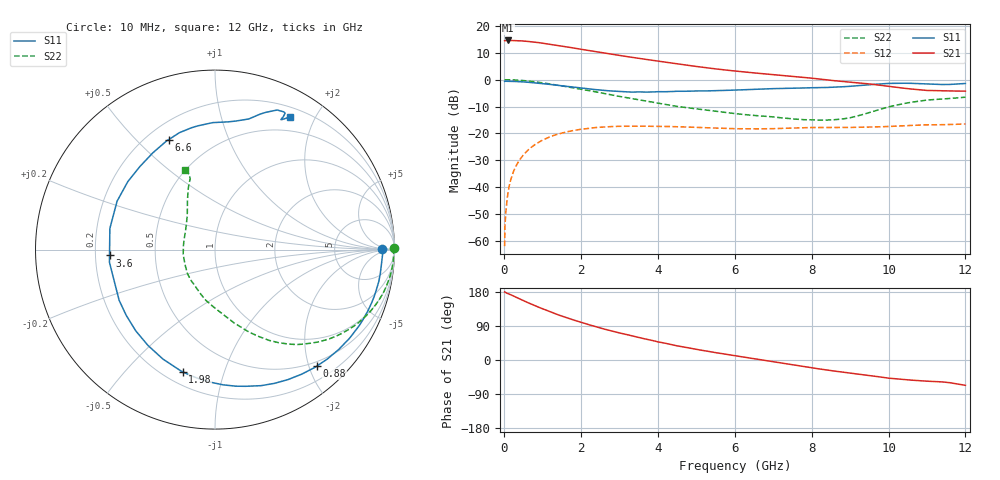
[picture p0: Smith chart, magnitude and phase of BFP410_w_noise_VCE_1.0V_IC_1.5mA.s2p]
! Infineon Technologies  Discrete & RF Semiconductors
! BFP410
! VCE =  1.0 V,  IC =  1.5 mA
! Common Emitter S-Parameters:  Nov 2015
# GHz  S  MA  R  50
!  f  S11  S21  S12  S22
! GHz  MAG  ANG  MAG  ANG  MAG  ANG  MAG  ANG
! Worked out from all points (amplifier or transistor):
!   243 points, 10 MHz to 12 GHz, reference 50 ohm
!   highest |S21| = 14.6 dB at 100 MHz (marker M1)
!   |S21| within 3 dB of that: start of sweep to 1.885 GHz
!   unconditionally stable (mu >= 1): 4.314 GHz to end of sweep
!   at 240 MHz: K = 0.04, MSG = 24.4 dB, |S12| = -34.2 dB
!   at 1.84 GHz: K = 0.35, MSG = 15.2 dB, |S12| = -18.8 dB
!   at 12 GHz: K = 1.20, MAG = 3.4 dB, |S12| = -16.5 dB
!   lowest NFmin = 0.80 dB at 900 MHz
!   S11 on the Smith chart (normalised r, x): 10 MHz: 27, +1; 880 MHz: 0.42, -2.14; 1.98 GHz: 0.27, -0.73; 3.6 GHz: 0.26, -0.03; 6.6 GHz: 0.29, +0.63; 12 GHz: 0.32, +1.67
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0.01  0.9287 0.2  5.301 179.6  0.0008 84.4  0.9973 0.4
0.02  0.9351 -1.0  5.341 179.2  0.0019 87.0  0.9943 -0.3
0.03  0.9343 -1.5  5.335 178.5  0.0026 87.6  0.9948 -0.7
0.1  0.9308 -5.6  5.359 175.4  0.008 86.9  0.9953 -3.2
0.24  0.9272 -13.2  5.333 168.7  0.0194 82.3  0.9886 -7.7
0.45  0.9132 -24.9  5.261 159.1  0.036 75.8  0.9683 -14.3
0.66  0.8897 -36.6  5.104 149.4  0.0519 68.8  0.9368 -20.7
0.88  0.8622 -48.7  4.897 140.0  0.0673 61.9  0.8971 -27.0
1.1  0.8305 -60.7  4.663 131.0  0.0813 55.2  0.8517 -32.9
1.36  0.7895 -74.4  4.361 120.8  0.0952 47.6  0.7953 -39.3
1.66  0.7456 -89.4  4.031 110.2  0.1081 39.8  0.7326 -45.7
1.98  0.7039 -104.8  3.693 100.0  0.1189 32.4  0.6705 -51.8
2.02  0.6983 -106.7  3.652 98.8  0.12 31.4  0.6628 -52.4
2.74  0.6188 -140.7  3.021 78.0  0.1336 16.7  0.5293 -64.4
3.6  0.5886 -176.8  2.436 57.1  0.1363 3.6  0.4094 -76.8
4.1  0.5964 165.6  2.167 46.0  0.1354 -2.1  0.3546 -84.4
5  0.6161 142.0  1.759 27.9  0.1296 -10.1  0.2864 -100.4
6.1  0.6439 121.0  1.424 9.8  0.1223 -14.7  0.2297 -119.4
6.6  0.6648 112.8  1.315 1.7  0.1217 -15.6  0.2133 -130.7
8.2  0.7104 87.5  1.026 -23.6  0.1287 -21.0  0.1765 -179.5
10.2  0.8545 64.7  0.722 -49.7  0.1368 -26.2  0.3355 116.9
12  0.8487 60.6  0.612 -66.8  0.15 -35.8  0.4719 110.6
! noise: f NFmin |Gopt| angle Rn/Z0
0.45  0.83  0.58  8  0.37
0.9  0.8  0.56  23  0.31
1.8  1.07  0.45  56  0.26
2.4  1.14  0.41  67  0.25
5.5  2.37  0.4  -150  0.18
10  4.33  0.72  -58  2.98
